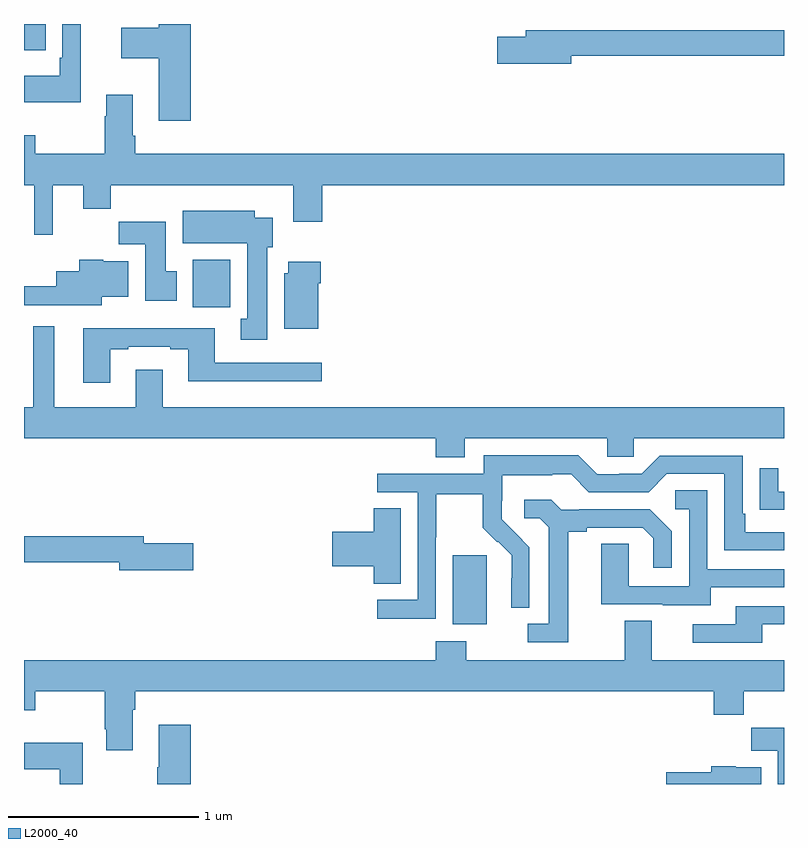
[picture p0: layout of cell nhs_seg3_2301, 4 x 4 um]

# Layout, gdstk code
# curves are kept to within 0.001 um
import gdstk
lib = gdstk.Library(unit=1e-6, precision=1e-09)
def R(c, l, rs):  # rectangles x0, y0, x1, y1
    for r in rs: c.add(gdstk.rectangle(r[:2], r[2:], *l))
def P(c, l, *ps):  # polygons
    for p in ps: c.add(gdstk.Polygon(p, *l))
L2000_40 = (2000, 40)

nhs_seg3_2301 = lib.new_cell('nhs_seg3_2301')
R(nhs_seg3_2301, L2000_40, [(231.257,729.242,231.436,729.603), (229.889,730.908,230.085,731.158), (229,732.263,229.115,732.4)])
P(nhs_seg3_2301, L2000_40, [(229.298,732.4),(229.2,732.4),(229.2,732.223),(229.188,732.223),(229.188,732.127),(229,732.127),(229,731.987),(229.298,731.987)],
  [(229.877,732.4),(229.709,732.4),(229.709,732.379),(229.512,732.379),(229.512,732.221),(229.709,732.221),(229.709,731.892),(229.877,731.892)],
  [(231.88,732.232),(233,732.232),(233,732.368),(231.641,732.368),(231.641,732.332),(231.492,732.332),(231.492,732.19),(231.88,732.19)],
  [(229.15,731.552),(229.313,731.552),(229.313,731.428),(229.457,731.428),(229.457,731.552),(230.417,731.552),(230.417,731.358),(230.57,731.358),(230.57,731.552),(233,731.552),(233,731.716),(229.586,731.716),(229.586,731.812),(229.573,731.812),(229.573,732.028),(229.433,732.028),(229.433,731.915),(229.426,731.915),(229.426,731.716),(229.059,731.716),(229.059,731.815),(229,731.815),(229,731.552),(229.053,731.552),(229.053,731.292),(229.15,731.292)],
  [(230.281,731.226),(230.308,731.226),(230.308,731.38),(230.215,731.38),(230.215,731.416),(229.835,731.416),(229.835,731.246),(230.174,731.246),(230.174,730.849),(230.141,730.849),(230.141,730.737),(230.281,730.737)],
  [(229.804,731.1),(229.747,731.1),(229.747,731.358),(229.498,731.358),(229.498,731.24),(229.637,731.24),(229.637,730.944),(229.804,730.944)],
  [(229.408,730.964),(229.549,730.964),(229.549,731.152),(229.416,731.152),(229.416,731.158),(229.291,731.158),(229.291,731.098),(229.169,731.098),(229.169,731.021),(229,731.021),(229,730.92),(229.408,730.92)],
  [(230.548,731.036),(230.561,731.036),(230.561,731.149),(230.39,731.149),(230.39,731.088),(230.369,731.088),(230.369,730.796),(230.548,730.796)],
  [(231.319,730.22),(232.071,730.22),(232.071,730.122),(232.209,730.122),(232.209,730.22),(233,730.22),(233,730.384),(229.729,730.384),(229.729,730.579),(229.589,730.579),(229.589,730.384),(229.159,730.384),(229.159,730.81),(229.049,730.81),(229.049,730.384),(229,730.384),(229,730.22),(231.167,730.22),(231.167,730.121),(231.319,730.121)],
  [(229.453,730.689),(229.549,730.689),(229.549,730.701),(229.769,730.701),(229.769,730.689),(229.865,730.689),(229.865,730.52),(230.566,730.52),(230.566,730.617),(230.005,730.617),(230.005,730.798),(229.313,730.798),(229.313,730.512),(229.453,730.512)],
  [(231.168,729.7),(231.171,729.7),(231.171,729.924),(231.415,729.924),(231.415,729.749),(231.492,729.672),(231.495,729.675),(231.566,729.605),(231.566,729.482),(231.564,729.482),(231.564,729.328),(231.66,729.328),(231.66,729.646),(231.514,729.794),(231.514,729.891),(231.516,729.891),(231.516,730.025),(231.779,730.025),(231.779,730.029),(231.879,730.029),(231.972,729.936),(232.287,729.936),(232.383,730.032),(232.686,730.032),(232.686,729.63),(233,729.63),(233,729.726),(232.795,729.726),(232.795,729.823),(232.782,729.823),(232.782,730.128),(232.347,730.128),(232.251,730.032),(232.133,730.032),(232.133,730.029),(232.017,730.029),(231.917,730.129),(231.42,730.129),(231.42,730.032),(230.859,730.032),(230.859,729.936),(231.072,729.936),(231.072,729.369),(230.859,729.369),(230.859,729.271),(231.168,729.271)],
  [(233,729.939),(232.969,729.939),(232.969,730.063),(232.873,730.063),(232.873,729.844),(232.975,729.844),(232.975,729.843),(233,729.843)],
  [(232.615,729.435),(233,729.435),(233,729.531),(232.596,729.531),(232.596,729.947),(232.428,729.947),(232.428,729.846),(232.5,729.846),(232.5,729.441),(232.182,729.441),(232.182,729.665),(232.037,729.665),(232.037,729.345),(232.361,729.345),(232.361,729.341),(232.615,729.341)],
  [(231.865,729.728),(231.961,729.728),(231.961,729.75),(232.256,729.75),(232.313,729.693),(232.313,729.537),(232.41,729.537),(232.41,729.73),(232.294,729.846),(231.922,729.846),(231.922,729.843),(231.828,729.843),(231.776,729.895),(231.633,729.895),(231.633,729.798),(231.714,729.798),(231.761,729.751),(231.761,729.243),(231.651,729.243),(231.651,729.147),(231.865,729.147)],
  [(230.983,729.851),(230.84,729.851),(230.84,729.728),(230.622,729.728),(230.622,729.545),(230.84,729.545),(230.84,729.454),(230.983,729.454)],
  [(229.891,729.668),(229.63,729.668),(229.63,729.704),(229,729.704),(229,729.568),(229.502,729.568),(229.502,729.526),(229.891,729.526)],
  [(232.885,729.24),(233,729.24),(233,729.336),(232.745,729.336),(232.745,729.24),(232.521,729.24),(232.521,729.144),(232.885,729.144)],
  [(229.573,728.792),(229.586,728.792),(229.586,728.888),(232.631,728.888),(232.631,728.764),(232.787,728.764),(232.787,728.888),(233,728.888),(233,729.052),(232.303,729.052),(232.303,729.26),(232.163,729.26),(232.163,729.052),(231.327,729.052),(231.327,729.151),(231.167,729.151),(231.167,729.052),(229,729.052),(229,728.789),(229.059,728.789),(229.059,728.888),(229.426,728.888),(229.426,728.689),(229.433,728.689),(229.433,728.577),(229.573,728.577)],
  [(229.877,728.713),(229.709,728.713),(229.709,728.489),(229.702,728.489),(229.702,728.4),(229.877,728.4)],
  [(233,728.695),(232.828,728.695),(232.828,728.576),(232.967,728.576),(232.967,728.4),(233,728.4)],
  [(229.309,728.617),(229,728.617),(229,728.477),(229.188,728.477),(229.188,728.4),(229.309,728.4)],
  [(232.879,728.488),(232.746,728.488),(232.746,728.494),(232.616,728.494),(232.616,728.463),(232.38,728.463),(232.38,728.4),(232.879,728.4)])

lib.write_gds('nhs_seg3_2301.gds')
